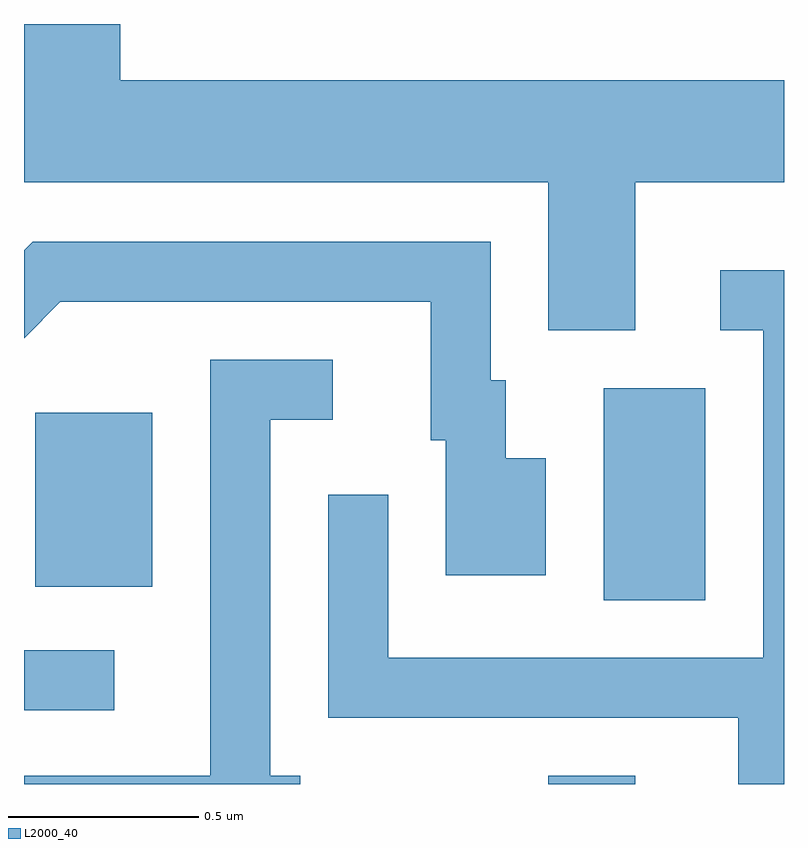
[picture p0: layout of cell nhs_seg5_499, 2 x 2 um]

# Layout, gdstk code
import gdstk
lib = gdstk.Library(unit=1e-6, precision=1e-09)
def R(c, l, rs):  # rectangles x0, y0, x1, y1
    for r in rs: c.add(gdstk.rectangle(r[:2], r[2:], *l))
def P(c, l, *ps):  # polygons
    for p in ps: c.add(gdstk.Polygon(p, *l))
L2000_40 = (2000, 40)

nhs_seg5_499 = lib.new_cell('nhs_seg5_499')
R(nhs_seg5_499, L2000_40, [(189.991,1484.072,190.219,1484.094), (188.611,1484.266,188.848,1484.424), (190.136,1484.556,190.404,1485.114), (188.641,1484.591,188.949,1485.049)])
P(nhs_seg5_499, L2000_40, [(190.219,1485.656),(190.611,1485.656),(190.611,1485.924),(188.864,1485.924),(188.864,1486.072),(188.611,1486.072),(188.611,1485.656),(189.991,1485.656),(189.991,1485.266),(190.219,1485.266)],
  [(189.984,1484.929),(189.879,1484.929),(189.879,1485.134),(189.839,1485.134),(189.839,1485.499),(188.634,1485.499),(188.611,1485.476),(188.611,1485.245),(188.707,1485.341),(189.681,1485.341),(189.681,1484.976),(189.721,1484.976),(189.721,1484.621),(189.984,1484.621)],
  [(190.611,1485.424),(190.443,1485.424),(190.443,1485.266),(190.556,1485.266),(190.556,1484.404),(189.569,1484.404),(189.569,1484.833),(189.411,1484.833),(189.411,1484.246),(190.491,1484.246),(190.491,1484.072),(190.611,1484.072)],
  [(189.338,1484.094),(189.259,1484.094),(189.259,1485.031),(189.423,1485.031),(189.423,1485.189),(189.101,1485.189),(189.101,1484.094),(188.611,1484.094),(188.611,1484.072),(189.338,1484.072)])

lib.write_gds('nhs_seg5_499.gds')
